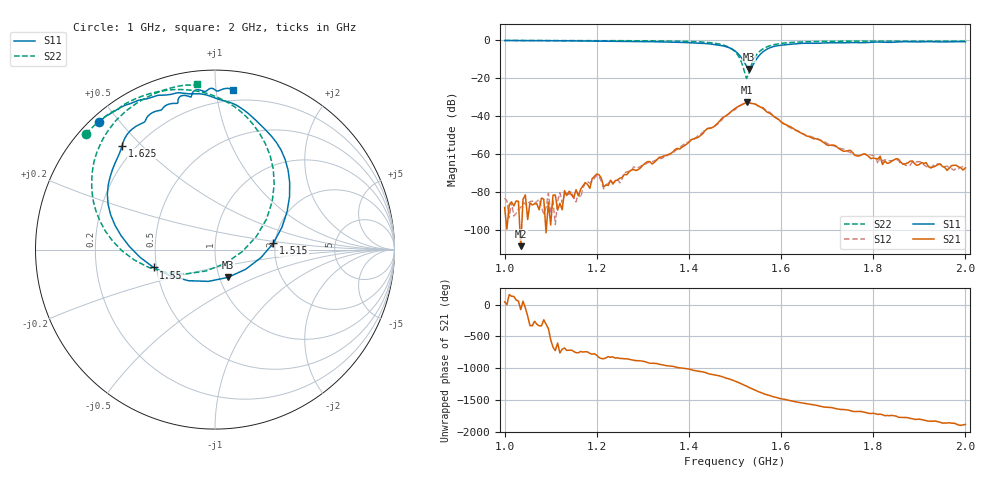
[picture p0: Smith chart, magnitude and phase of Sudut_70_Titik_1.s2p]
# Hz S RI R 50
! CMT, C1220, 16058040, 17.2.0/1
! Date: 14/08/2018 12:54:31
! Data: Format (Calibration Info)
! Freq  S11: Re/Im (F2)  S21: Re/Im (F2)  S12: Re/Im (F2)  S22: Re/Im (F2)
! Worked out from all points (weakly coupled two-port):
!   201 points, 1 GHz to 2 GHz, reference 50 ohm
!   highest |S21| = -33.01 dB at 1.525 GHz (marker M1); lowest = -108.8 dB at 1.035 GHz (marker M2)
!   lowest |S11| = -15.4 dB at 1.53 GHz (marker M3), VSWR 1.41, Z = 54.7 - j17.5 ohm
!   |S11| at or under -10 dB: 1.516 GHz to 1.547 GHz (31.37 MHz wide, 2.05 % of centre)
!   |S22| runs from -20.3 to -0.3 dB; largest |S21 - S12| = 0.00091
!   S11 on the Smith chart (normalised r, x): 1 GHz: 0.02, +0.44; 1.515 GHz: 1.95, +0.15; 1.55 GHz: 0.48, -0.11; 1.625 GHz: 0.15, +0.44; 2 GHz: 0.12, +1.11
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1e9  -0.6454 0.713  2.79e-05 2.61e-05  2.56e-06 6.8e-05  -0.7193 0.6453
1.035e9  -0.6136 0.739  5.91e-07 -3.59e-06  -7.77e-06 3.71e-05  -0.694 0.6709
1.17e9  -0.4524 0.8214  0.000125 -6.72e-05  0.000116 -4.13e-05  -0.577 0.7652
1.185e9  -0.4297 0.8305  7.97e-05 -9.18e-05  0.000101 -0.000133  -0.56 0.7738
1.2e9  -0.4073 0.8353  4.97e-05 -0.000287  -2.75e-05 -0.000268  -0.5432 0.7772
1.215e9  -0.3858 0.8389  -9.26e-05 -9.65e-05  -3.52e-05 -0.000113  -0.5355 0.7853
1.235e9  -0.3517 0.8488  -3.92e-05 -0.000153  -0.000114 -0.000123  -0.5141 0.8037
1.335e9  -0.1715 0.8704  -0.000615 0.000498  -0.000528 0.000548  -0.3603 0.8696
1.45e9  0.207 0.7396  0.00451 -0.00172  0.00445 -0.00205  0.0459 0.8332
1.5e9  0.4155 0.297  -0.00903 -0.0125  -0.0085 -0.0118  0.3298 0.3616
1.515e9  0.3246 0.0353  -0.0193 -0.00296  -0.0195 -0.0035  0.2301 0.0727
1.525e9  0.1707 -0.1097  -0.0202 0.00959  -0.0205 0.00956  0.0592 -0.0761
1.53e9  0.071 -0.1552  -0.0154 0.0153  -0.0156 0.0154  -0.0498 -0.119
1.55e9  -0.3424 -0.0997  0.00612 0.0173  0.00544 0.0175  -0.4499 -0.0579
1.58e9  -0.5957 0.2528  0.0106 -0.00093  0.0109 -0.00142  -0.6768 0.2646
1.625e9  -0.5176 0.5791  0.000634 -0.00469  0.000751 -0.00445  -0.6499 0.5616
1.67e9  -0.3999 0.7068  -0.00189 -0.00161  -0.00202 -0.00176  -0.5668 0.7008
1.8e9  -0.1996 0.8487  1.7e-05 0.000772  0.000226 0.000866  -0.3629 0.8566
1.81e9  -0.1804 0.8586  0.000263 0.000678  0.000194 0.000513  -0.3497 0.8635
1.815e9  -0.1685 0.859  0.000249 0.00082  0.000381 0.000729  -0.3427 0.8666
1.835e9  -0.1342 0.85  0.000369 0.000434  0.000389 0.000521  -0.3156 0.8776
2e9  0.0996 0.889  8.91e-06 -0.000423  -2.28e-05 -0.000487  -0.0983 0.9221
